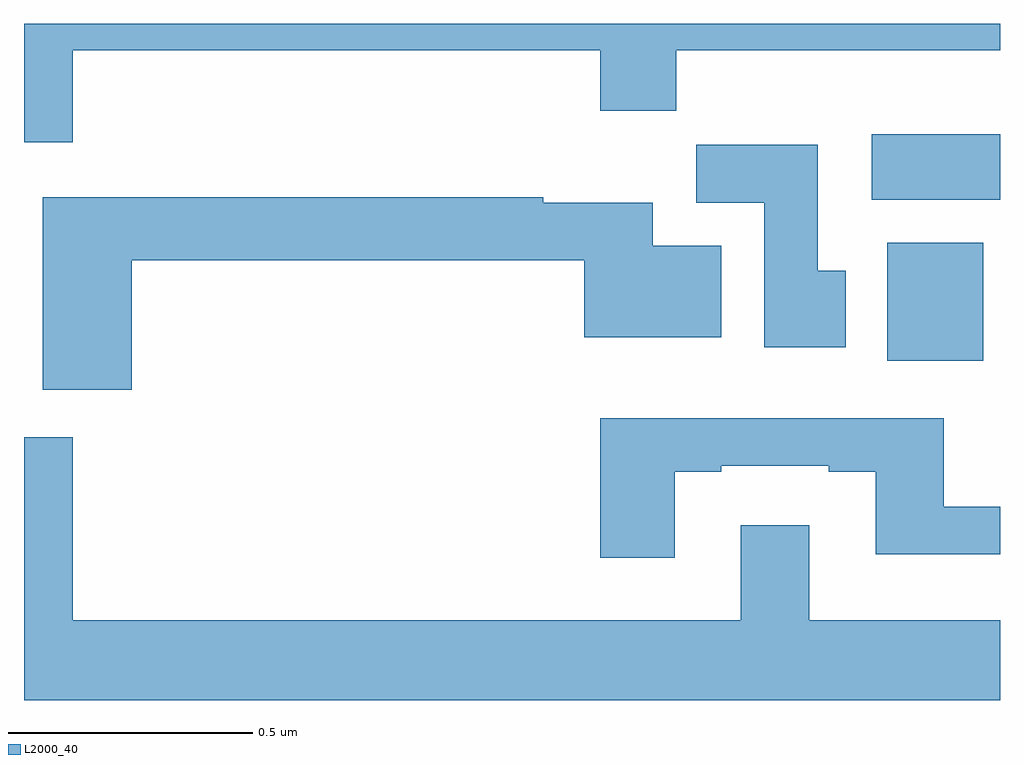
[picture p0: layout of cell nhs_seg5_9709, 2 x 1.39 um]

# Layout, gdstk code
import gdstk
lib = gdstk.Library(unit=1e-6, precision=1e-09)
def R(c, l, rs):  # rectangles x0, y0, x1, y1
    for r in rs: c.add(gdstk.rectangle(r[:2], r[2:], *l))
def P(c, l, *ps):  # polygons
    for p in ps: c.add(gdstk.Polygon(p, *l))
L2000_40 = (2000, 40)

nhs_seg5_9709 = lib.new_cell('nhs_seg5_9709')
R(nhs_seg5_9709, L2000_40, [(238.769,872.108,238.966,872.35), (238.737,872.438,239,872.572)])
P(nhs_seg5_9709, L2000_40, [(237.1,872.744),(238.181,872.744),(238.181,872.62),(238.337,872.62),(238.337,872.744),(239,872.744),(239,872.799),(237,872.799),(237,872.556),(237.1,872.556)],
  [(238.684,872.292),(238.627,872.292),(238.627,872.551),(238.378,872.551),(238.378,872.432),(238.517,872.432),(238.517,872.136),(238.684,872.136)],
  [(237.221,872.314),(238.148,872.314),(238.148,872.156),(238.429,872.156),(238.429,872.344),(238.288,872.344),(238.288,872.432),(238.064,872.432),(238.064,872.443),(237.038,872.443),(237.038,872.049),(237.221,872.049)],
  [(238.333,871.881),(238.429,871.881),(238.429,871.893),(238.649,871.893),(238.649,871.881),(238.745,871.881),(238.745,871.712),(239,871.712),(239,871.809),(238.885,871.809),(238.885,871.99),(238.181,871.99),(238.181,871.704),(238.333,871.704)],
  [(239,871.576),(238.609,871.576),(238.609,871.771),(238.469,871.771),(238.469,871.576),(237.1,871.576),(237.1,871.951),(237,871.951),(237,871.412),(239,871.412)])

lib.write_gds('nhs_seg5_9709.gds')
